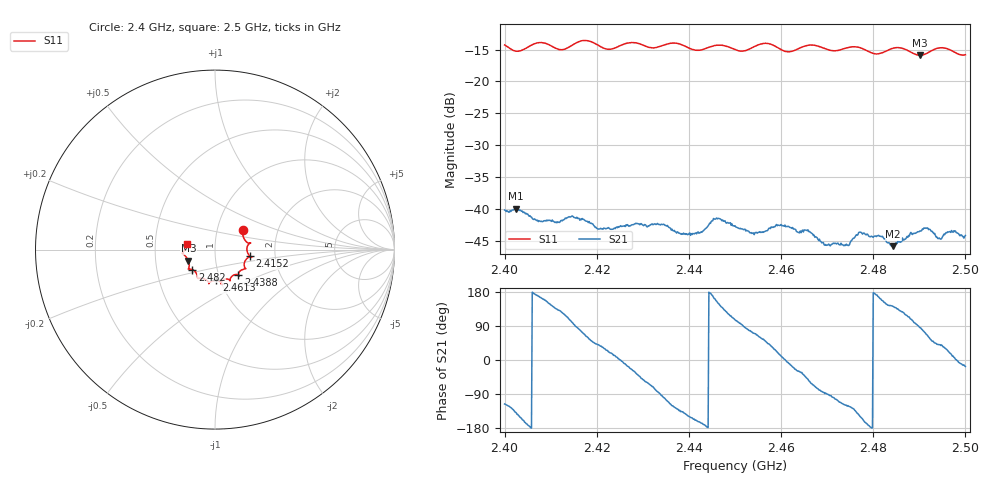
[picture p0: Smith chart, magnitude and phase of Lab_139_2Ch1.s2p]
# Hz S RI R 50
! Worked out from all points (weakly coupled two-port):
!   601 points, 2.4 GHz to 2.5 GHz, reference 50 ohm
!   highest |S21| = -39.96 dB at 2.4025 GHz (marker M1); lowest = -45.9 dB at 2.4843 GHz (marker M2)
!   lowest |S11| = -15.9 dB at 2.4902 GHz (marker M3), VSWR 1.38, Z = 36.8 - j4.66 ohm
!   |S11| at or under -10 dB: start of sweep to end of sweep
!   S12 and S22 are empty: the file has one direction only
!   S11 on the Smith chart (normalised r, x): 2.4 GHz: 1.33, +0.31; 2.4152 GHz: 1.48, -0.11; 2.4388 GHz: 1.24, -0.36; 2.4613 GHz: 0.96, -0.34; 2.482 GHz: 0.76, -0.17; 2.5 GHz: 0.72, +0.05
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2.4e9  0.1578 0.1118  -0.0043 -0.00879  0 0  0 0
2.4025e9  0.1579 0.07  -0.00755 -0.00661  0 0  0 0
2.407833e9  0.1984 0.0372  -0.00768 0.00206  0 0  0 0
2.415167e9  0.1937 -0.0368  -0.000419 0.00854  0 0  0 0
2.416667e9  0.204 -0.0431  0.00211 0.00794  0 0  0 0
2.420833e9  0.1818 -0.0467  0.00566 0.00418  0 0  0 0
2.433333e9  0.132 -0.132  0.000667 -0.00754  0 0  0 0
2.438833e9  0.1295 -0.1413  -0.00487 -0.00423  0 0  0 0
2.445833e9  0.083 -0.1733  -0.00771 0.00319  0 0  0 0
2.45e9  0.0689 -0.1642  -0.00206 0.00707  0 0  0 0
2.456833e9  0.0384 -0.1952  0.00457 0.00495  0 0  0 0
2.461333e9  0.0079 -0.1709  0.00722 -0.000703  0 0  0 0
2.466667e9  -0.0347 -0.1901  0.00298 -0.00569  0 0  0 0
2.470167e9  -0.0448 -0.1719  -7.63e-05 -0.00522  0 0  0 0
2.474333e9  -0.0896 -0.1606  -0.00273 -0.00443  0 0  0 0
2.477333e9  -0.097 -0.1554  -0.00574 -0.00313  0 0  0 0
2.482e9  -0.126 -0.1114  -0.00559 0.0024  0 0  0 0
2.483333e9  -0.1397 -0.1088  -0.00441 0.00316  0 0  0 0
2.484333e9  -0.1466 -0.1089  -0.00397 0.0032  0 0  0 0
2.490167e9  -0.1484 -0.0617  0.000568 0.0067  0 0  0 0
2.494833e9  -0.183 -0.0201  0.00448 0.00373  0 0  0 0
2.5e9  -0.1587 0.033  0.00591 -0.00182  0 0  0 0
